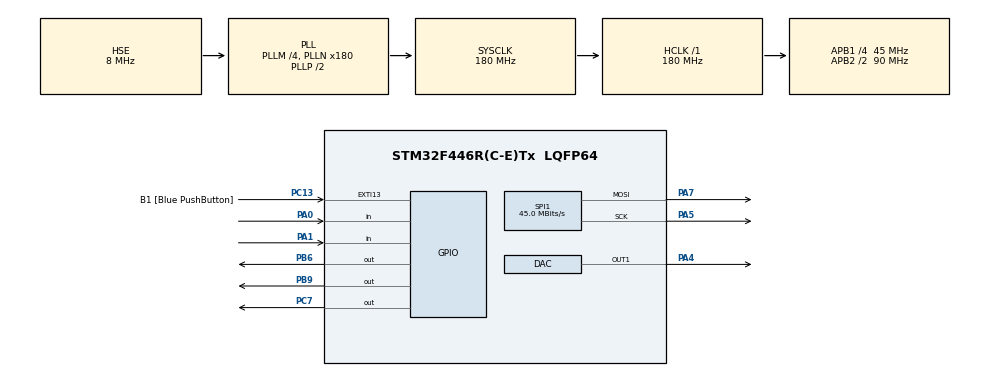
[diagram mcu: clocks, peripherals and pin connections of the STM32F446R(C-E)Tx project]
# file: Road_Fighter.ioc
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DAC.DAC_Trigger=DAC_TRIGGER_T6_TRGO
Dma.DAC1.0.Direction=DMA_MEMORY_TO_PERIPH
Dma.DAC1.0.FIFOMode=DMA_FIFOMODE_DISABLE
Dma.DAC1.0.Instance=DMA1_Stream5
Dma.DAC1.0.MemDataAlignment=DMA_MDATAALIGN_HALFWORD
Dma.DAC1.0.MemInc=DMA_MINC_ENABLE
Dma.DAC1.0.Mode=DMA_CIRCULAR
Dma.DAC1.0.PeriphDataAlignment=DMA_PDATAALIGN_HALFWORD
Dma.DAC1.0.PeriphInc=DMA_PINC_DISABLE
Dma.DAC1.0.Priority=DMA_PRIORITY_LOW
Dma.Request0=DAC1
FREERTOS.HEAP_NUMBER=1
FREERTOS.MEMORY_ALLOCATION=0
FREERTOS.Queues01=gameState,1,uint8_t,NULL,Dynamic,NULL,NULL;track,1,uint8_t,NULL,Dynamic,NULL,NULL;trackISR,1,uint8_t,NULL,Dynamic,NULL,NULL;trackHalfISR,1,uint8_t,NULL,Dynamic,NULL,NULL
FREERTOS.Tasks01=defaultTask,0,128,StartDefaultTask,Default,NULL,Dynamic,NULL,NULL;taskDisplayGame,0,1024,DisplayGame,Default,NULL,Dynamic,NULL,NULL;taskSoundEffect,0,128,SoundEffect,Default,NULL,Dynamic,NULL,NULL;taskUpdateGame,1,128,UpdateGame,Default,NULL,Dynamic,NULL,NULL
FREERTOS.configUSE_PREEMPTION=1
Mcu.Family=STM32F4
Mcu.Name=STM32F446R(C-E)Tx
Mcu.Package=LQFP64
NVIC.DMA1_Stream5_IRQn=true\:5\:0\:false\:false\:true\:true\:false
NVIC.EXTI15_10_IRQn=true\:5\:0\:false\:false\:true\:true\:true
NVIC.PriorityGroup=NVIC_PRIORITYGROUP_4
NVIC.TIM6_DAC_IRQn=true\:5\:0\:false\:false\:true\:true\:true
NVIC.TIM7_IRQn=true\:0\:0\:false\:false\:true\:false\:false
NVIC.TimeBase=TIM7_IRQn
NVIC.TimeBaseIP=TIM7
PA0-WKUP.Signal=GPIO_Input
PA1.Signal=GPIO_Input
PA13.GPIO_Label=TMS
PA13.Mode=Serial_Wire
PA13.Signal=SYS_JTMS-SWDIO
PA14.GPIO_Label=TCK
PA14.Mode=Serial_Wire
PA14.Signal=SYS_JTCK-SWCLK
PA2.GPIO_Label=USART_TX
PA2.Signal=USART2_TX
PA3.GPIO_Label=USART_RX
PA3.Signal=USART2_RX
PA4.Signal=COMP_DAC1_group
PA5.Mode=TX_Only_Simplex_Unidirect_Master
PA5.Signal=SPI1_SCK
PA7.Mode=TX_Only_Simplex_Unidirect_Master
PA7.Signal=SPI1_MOSI
PB3.GPIO_Label=SWO
PB3.Signal=SYS_JTDO-SWO
PB6.GPIO_Speed=GPIO_SPEED_FREQ_VERY_HIGH
PB6.Signal=GPIO_Output
PB9.GPIO_Speed=GPIO_SPEED_FREQ_VERY_HIGH
PB9.Signal=GPIO_Output
PC13.GPIO_Label=B1 [Blue PushButton]
PC13.GPIO_ModeDefaultEXTI=GPIO_MODE_IT_FALLING
PC13.Signal=GPXTI13
PC14-OSC32_IN.Signal=RCC_OSC32_IN
PC15-OSC32_OUT.Signal=RCC_OSC32_OUT
PC7.GPIO_Speed=GPIO_SPEED_FREQ_VERY_HIGH
PC7.Signal=GPIO_Output
PH0-OSC_IN.Mode=HSE-External-Clock-Source
PH0-OSC_IN.Signal=RCC_OSC_IN
PH1-OSC_OUT.Mode=HSE-External-Clock-Source
PH1-OSC_OUT.Signal=RCC_OSC_OUT
ProjectManager.HeapSize=0x200
ProjectManager.StackSize=0x400
ProjectManager.TargetToolchain=SW4STM32
RCC.AHBFreq_Value=180000000
RCC.APB1CLKDivider=RCC_HCLK_DIV4
RCC.APB1Freq_Value=45000000
RCC.APB1TimFreq_Value=90000000
RCC.APB2CLKDivider=RCC_HCLK_DIV2
RCC.APB2Freq_Value=90000000
RCC.APB2TimFreq_Value=180000000
RCC.CortexFreq_Value=180000000
RCC.FLatency-AdvancedSettings=FLASH_LATENCY_5
RCC.HCLKFreq_Value=180000000
RCC.HSE_VALUE=8000000
RCC.HSI_VALUE=16000000
RCC.LSE_VALUE=32768
RCC.PLLM=4
RCC.PLLN=180
RCC.PLLQ=8
RCC.PLLSourceVirtual=RCC_PLLSOURCE_HSE
RCC.SYSCLKFreq_VALUE=180000000
RCC.SYSCLKSource=RCC_SYSCLKSOURCE_PLLCLK
RCC.USBFreq_Value=45000000
RCC.VCOOutputFreq_Value=360000000
SH.COMP_DAC1_group.0=DAC_OUT1,DAC_OUT1
SPI1.CalculateBaudRate=45.0 MBits/s
SPI1.Direction=SPI_DIRECTION_2LINES
SPI1.Mode=SPI_MODE_MASTER
SPI1.VirtualType=VM_MASTER
TIM6.Period=4081
TIM6.Prescaler=0
TIM6.TIM_MasterOutputTrigger=TIM_TRGO_UPDATE
VP_FREERTOS_VS_ENABLE.Mode=Enabled
VP_SYS_VS_tim7.Mode=TIM7
VP_TIM6_VS_ClockSourceINT.Mode=Enable_Timer
board=NUCLEO-F446RE

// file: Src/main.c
/**
  ******************************************************************************
  * File Name          : main.c
  * Description        : Main program body
  ******************************************************************************
  * This notice applies to any and all portions of this file
  * that are not between comment pairs USER CODE BEGIN and
  * USER CODE END. Other portions of this file, whether
  * inserted by the user or by software development tools
  * are owned by their respective copyright owners.
  *
  * Copyright (c) 2017 STMicroelectronics International N.V.
  * All rights reserved.
  *
  * Redistribution and use in source and binary forms, with or without
  * modification, are permitted, provided that the following conditions are met:
  *
  * 1. Redistribution of source code must retain the above copyright notice,
  *    this list of conditions and the following disclaimer.
  * 2. Redistributions in binary form must reproduce the above copyright notice,
  *    this list of conditions and the following disclaimer in the documentation
  *    and/or other materials provided with the distribution.
  * 3. Neither the name of STMicroelectronics nor the names of other
  *    contributors to this software may be used to endorse or promote products
  *    derived from this software without specific written permission.
  * 4. This software, including modifications and/or derivative works of this
  *    software, must execute solely and exclusively on microcontroller or
  *    microprocessor devices manufactured by or for STMicroelectronics.
  * 5. Redistribution and use of this software other than as permitted under
  *    this license is void and will automatically terminate your rights under
  *    this license.
  *
  * THIS SOFTWARE IS PROVIDED BY STMICROELECTRONICS AND CONTRIBUTORS "AS IS"
  * AND ANY EXPRESS, IMPLIED OR STATUTORY WARRANTIES, INCLUDING, BUT NOT
  * LIMITED TO, THE IMPLIED WARRANTIES OF MERCHANTABILITY, FITNESS FOR A
  * PARTICULAR PURPOSE AND NON-INFRINGEMENT OF THIRD PARTY INTELLECTUAL PROPERTY
  * RIGHTS ARE DISCLAIMED TO THE FULLEST EXTENT PERMITTED BY LAW. IN NO EVENT
  * SHALL STMICROELECTRONICS OR CONTRIBUTORS BE LIABLE FOR ANY DIRECT, INDIRECT,
  * INCIDENTAL, SPECIAL, EXEMPLARY, OR CONSEQUENTIAL DAMAGES (INCLUDING, BUT NOT
  * LIMITED TO, PROCUREMENT OF SUBSTITUTE GOODS OR SERVICES; LOSS OF USE, DATA,
  * OR PROFITS; OR BUSINESS INTERRUPTION) HOWEVER CAUSED AND ON ANY THEORY OF
  * LIABILITY, WHETHER IN CONTRACT, STRICT LIABILITY, OR TORT (INCLUDING
  * NEGLIGENCE OR OTHERWISE) ARISING IN ANY WAY OUT OF THE USE OF THIS SOFTWARE,
  * EVEN IF ADVISED OF THE POSSIBILITY OF SUCH DAMAGE.
  *
  ******************************************************************************
  */

#include "main.h"
#include "stm32f4xx_hal.h"
#include "cmsis_os.h"
#include "dac.h"
#include "dma.h"
#include "spi.h"
#include "tim.h"
#include "gpio.h"

/* USER CODE BEGIN PV */
/* Private variables ---------------------------------------------------------*/
#ifdef __GNUC__
#define USED __attribute__((used))
#else
#define USED
#endif

const int USED uxTopUsedPriority = configMAX_PRIORITIES - 1;
/* USER CODE END PV */

void SystemClock_Config(void);
void MX_FREERTOS_Init(void);

/* USER CODE BEGIN PFP */
/* Private function prototypes -----------------------------------------------*/

/* USER CODE END PFP */

int main(void)
{

  /* MCU Configuration----------------------------------------------------------*/

  /* Reset of all peripherals, Initializes the Flash interface and the Systick. */
  HAL_Init();

  /* Configure the system clock */
  SystemClock_Config();

  /* Initialize all configured peripherals */
  MX_GPIO_Init();
  MX_DMA_Init();
  MX_SPI1_Init();
  MX_DAC_Init();
  MX_TIM6_Init();

  /* Call init function for freertos objects (in freertos.c) */
  MX_FREERTOS_Init();

  /* Start scheduler */
  osKernelStart();

  /* We should never get here as control is now taken by the scheduler */

  /* Infinite loop */
  while (1)
  {

  }

}

/** System Clock Configuration
*/
void SystemClock_Config(void)
{

  RCC_OscInitTypeDef RCC_OscInitStruct;
  RCC_ClkInitTypeDef RCC_ClkInitStruct;

    /**Configure the main internal regulator output voltage
    */
  __HAL_RCC_PWR_CLK_ENABLE();

  __HAL_PWR_VOLTAGESCALING_CONFIG(PWR_REGULATOR_VOLTAGE_SCALE1);

    /**Initializes the CPU, AHB and APB busses clocks
    */
  RCC_OscInitStruct.OscillatorType = RCC_OSCILLATORTYPE_HSE;
  RCC_OscInitStruct.HSEState = RCC_HSE_BYPASS;
  RCC_OscInitStruct.PLL.PLLState = RCC_PLL_ON;
  RCC_OscInitStruct.PLL.PLLSource = RCC_PLLSOURCE_HSE;
  RCC_OscInitStruct.PLL.PLLM = 4;
  RCC_OscInitStruct.PLL.PLLN = 180;
  RCC_OscInitStruct.PLL.PLLP = RCC_PLLP_DIV2;
  RCC_OscInitStruct.PLL.PLLQ = 8;
  RCC_OscInitStruct.PLL.PLLR = 2;
  if (HAL_RCC_OscConfig(&RCC_OscInitStruct) != HAL_OK)
  {
    _Error_Handler(__FILE__, __LINE__);
  }

    /**Activate the Over-Drive mode
    */
  if (HAL_PWREx_EnableOverDrive() != HAL_OK)
  {
    _Error_Handler(__FILE__, __LINE__);
  }

    /**Initializes the CPU, AHB and APB busses clocks
    */
  RCC_ClkInitStruct.ClockType = RCC_CLOCKTYPE_HCLK|RCC_CLOCKTYPE_SYSCLK
                              |RCC_CLOCKTYPE_PCLK1|RCC_CLOCKTYPE_PCLK2;
  RCC_ClkInitStruct.SYSCLKSource = RCC_SYSCLKSOURCE_PLLCLK;
  RCC_ClkInitStruct.AHBCLKDivider = RCC_SYSCLK_DIV1;
  RCC_ClkInitStruct.APB1CLKDivider = RCC_HCLK_DIV4;
  RCC_ClkInitStruct.APB2CLKDivider = RCC_HCLK_DIV2;

  if (HAL_RCC_ClockConfig(&RCC_ClkInitStruct, FLASH_LATENCY_5) != HAL_OK)
  {
    _Error_Handler(__FILE__, __LINE__);
  }

    /**Configure the Systick interrupt time
    */
  HAL_SYSTICK_Config(HAL_RCC_GetHCLKFreq()/1000);

    /**Configure the Systick
    */
  HAL_SYSTICK_CLKSourceConfig(SYSTICK_CLKSOURCE_HCLK);

  /* SysTick_IRQn interrupt configuration */
  HAL_NVIC_SetPriority(SysTick_IRQn, 15, 0);
}

void HAL_TIM_PeriodElapsedCallback(TIM_HandleTypeDef *htim)
{
  if (htim->Instance == TIM7) {
    HAL_IncTick();
  }
}

void _Error_Handler(char * file, int line)
{
  while(1)
  {
  }
}

/************************ (C) COPYRIGHT STMicroelectronics *****END OF FILE****/

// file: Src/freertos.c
/**
  ******************************************************************************
  * File Name          : freertos.c
  * Description        : Code for freertos applications
  ******************************************************************************
  * This notice applies to any and all portions of this file
  * that are not between comment pairs USER CODE BEGIN and
  * USER CODE END. Other portions of this file, whether
  * inserted by the user or by software development tools
  * are owned by their respective copyright owners.
  *
  * Copyright (c) 2017 STMicroelectronics International N.V.
  * All rights reserved.
  *
  * Redistribution and use in source and binary forms, with or without
  * modification, are permitted, provided that the following conditions are met:
  *
  * 1. Redistribution of source code must retain the above copyright notice,
  *    this list of conditions and the following disclaimer.
  * 2. Redistributions in binary form must reproduce the above copyright notice,
  *    this list of conditions and the following disclaimer in the documentation
  *    and/or other materials provided with the distribution.
  * 3. Neither the name of STMicroelectronics nor the names of other
  *    contributors to this software may be used to endorse or promote products
  *    derived from this software without specific written permission.
  * 4. This software, including modifications and/or derivative works of this
  *    software, must execute solely and exclusively on microcontroller or
  *    microprocessor devices manufactured by or for STMicroelectronics.
  * 5. Redistribution and use of this software other than as permitted under
  *    this license is void and will automatically terminate your rights under
  *    this license.
  *
  * THIS SOFTWARE IS PROVIDED BY STMICROELECTRONICS AND CONTRIBUTORS "AS IS"
  * AND ANY EXPRESS, IMPLIED OR STATUTORY WARRANTIES, INCLUDING, BUT NOT
  * LIMITED TO, THE IMPLIED WARRANTIES OF MERCHANTABILITY, FITNESS FOR A
  * PARTICULAR PURPOSE AND NON-INFRINGEMENT OF THIRD PARTY INTELLECTUAL PROPERTY
  * RIGHTS ARE DISCLAIMED TO THE FULLEST EXTENT PERMITTED BY LAW. IN NO EVENT
  * SHALL STMICROELECTRONICS OR CONTRIBUTORS BE LIABLE FOR ANY DIRECT, INDIRECT,
  * INCIDENTAL, SPECIAL, EXEMPLARY, OR CONSEQUENTIAL DAMAGES (INCLUDING, BUT NOT
  * LIMITED TO, PROCUREMENT OF SUBSTITUTE GOODS OR SERVICES; LOSS OF USE, DATA,
  * OR PROFITS; OR BUSINESS INTERRUPTION) HOWEVER CAUSED AND ON ANY THEORY OF
  * LIABILITY, WHETHER IN CONTRACT, STRICT LIABILITY, OR TORT (INCLUDING
  * NEGLIGENCE OR OTHERWISE) ARISING IN ANY WAY OUT OF THE USE OF THIS SOFTWARE,
  * EVEN IF ADVISED OF THE POSSIBILITY OF SUCH DAMAGE.
  *
  ******************************************************************************
  */

#include "FreeRTOS.h"
#include "task.h"
#include "cmsis_os.h"

/* USER CODE BEGIN Includes */
#include "st7735.h"
#include "game.h"
#include "dac.h"
#include "tim.h"
#include "sound.h"
/* USER CODE END Includes */

osThreadId defaultTaskHandle;
osThreadId taskDisplayGameHandle;
osThreadId taskSoundEffectHandle;
osThreadId taskUpdateGameHandle;
osMessageQId gameStateHandle;
osMessageQId trackHandle;
osMessageQId trackISRHandle;
osMessageQId trackHalfISRHandle;

void StartDefaultTask(void const * argument);
void DisplayGame(void const * argument);
void SoundEffect(void const * argument);
void UpdateGame(void const * argument);

void MX_FREERTOS_Init(void); /* (MISRA C 2004 rule 8.1) */

/* Hook prototypes */

/* Init FreeRTOS */

void MX_FREERTOS_Init(void) {
  /* USER CODE BEGIN Init */
	ST7735_Init();
	ST7735_AddrSet(0,0,159,127);
	ST7735_Clear(0x0000);
	ST7735_Orientation(scr_180);
  /* USER CODE END Init */

  /* Create the thread(s) */
  /* definition and creation of defaultTask */
  osThreadDef(defaultTask, StartDefaultTask, osPriorityNormal, 0, 128);
  defaultTaskHandle = osThreadCreate(osThread(defaultTask), NULL);

  /* definition and creation of taskDisplayGame */
  osThreadDef(taskDisplayGame, DisplayGame, osPriorityNormal, 0, 1024);
  taskDisplayGameHandle = osThreadCreate(osThread(taskDisplayGame), NULL);

  /* definition and creation of taskSoundEffect */
  osThreadDef(taskSoundEffect, SoundEffect, osPriorityNormal, 0, 128);
  taskSoundEffectHandle = osThreadCreate(osThread(taskSoundEffect), NULL);

  /* definition and creation of taskUpdateGame */
  osThreadDef(taskUpdateGame, UpdateGame, osPriorityAboveNormal, 0, 128);
  taskUpdateGameHandle = osThreadCreate(osThread(taskUpdateGame), NULL);

  /* Create the queue(s) */
  /* definition and creation of gameState */
  osMessageQDef(gameState, 1, uint8_t);
  gameStateHandle = osMessageCreate(osMessageQ(gameState), NULL);

  /* definition and creation of track */
  osMessageQDef(track, 1, uint8_t);
  trackHandle = osMessageCreate(osMessageQ(track), NULL);

  /* definition and creation of trackISR */
  osMessageQDef(trackISR, 1, uint8_t);
  trackISRHandle = osMessageCreate(osMessageQ(trackISR), NULL);

  /* definition and creation of trackHalfISR */
  osMessageQDef(trackHalfISR, 1, uint8_t);
  trackHalfISRHandle = osMessageCreate(osMessageQ(trackHalfISR), NULL);

}

/* StartDefaultTask function */
void StartDefaultTask(void const * argument)
{

  for(;;)
  {
    osDelay(1);
  }
}

/* DisplayGame function */
void DisplayGame(void const * argument)
{
  /* USER CODE BEGIN DisplayGame */
	init_player();
	init_enemy();

	GameState game_state = Main_Menu;
	osEvent event;
  /* Infinite loop */
  for(;;)
  {
	event = osMessageGet(gameStateHandle, 0);
	if(event.status == osEventMessage) game_state = event.value.v;
	switch(game_state){
	case Main_Menu:
		main_menu();
		break;
	case Starting:
		render_starting();
		osSignalWait(0x0001, osWaitForever);
		game_state = Running;
		osMessagePut(trackHandle, Engine, 0);
		break;
	case Running:
		render_player();
		render_enemy();
		render_road();
		render_score();
		check_if_over();
		break;
	case Game_Over:
		game_over();
		break;
	default:
		break;
	}
    osDelay(1);
  }
  /* USER CODE END DisplayGame */
}

/* SoundEffect function */
void SoundEffect(void const * argument)
{
  /* USER CODE BEGIN SoundEffect */
	HAL_TIM_Base_Start(&htim6);

	osEvent event;
  /* Infinite loop */
  for(;;)
  {
	  event = osMessageGet(trackHandle, osWaitForever);
	  if(event.status == osEventMessage){
		  switch(event.value.v){
		  case Explosion:
			  HAL_DAC_Stop_DMA(&hdac, DAC_CHANNEL_1);
			  HAL_DAC_Start_DMA(&hdac, DAC_CHANNEL_1, (uint32_t*)explosion_PCM, explosion_Len, DAC_ALIGN_12B_L);
			  osMessagePut(trackHalfISRHandle, Explosion_started, 0);
			  break;
		  case Engine:
			  HAL_DAC_Stop_DMA(&hdac, DAC_CHANNEL_1);
			  HAL_DAC_Start_DMA(&hdac, DAC_CHANNEL_1, (uint32_t*)engine_PCM, engine_Len, DAC_ALIGN_12B_L);
			  break;
		  case Start:
			  HAL_DAC_Start_DMA(&hdac, DAC_CHANNEL_1, (uint32_t*)start_PCM, start_Len, DAC_ALIGN_12B_L);
			  osMessagePut(trackISRHandle, Start, 0);
			  break;
		  default:
			  HAL_DAC_Stop_DMA(&hdac, DAC_CHANNEL_1);
			  break;
		  }
	  }
	  osDelay(1);
  }
  /* USER CODE END SoundEffect */
}

/* UpdateGame function */
void UpdateGame(void const * argument)
{
  /* USER CODE BEGIN UpdateGame */
  /* Infinite loop */
  for(;;)
  {
	  osDelay(40);
	  update_player(0);
	  if(HAL_GPIO_ReadPin(GPIOA, GPIO_PIN_0) == GPIO_PIN_SET) {
		  update_player(VELOCITY);
	  }
	  if(HAL_GPIO_ReadPin(GPIOA, GPIO_PIN_1) == GPIO_PIN_SET) {
		  update_player(-VELOCITY);
	  }

	  update_game();
  }
  /* USER CODE END UpdateGame */
}

/* USER CODE BEGIN Application */
void HAL_DAC_ConvHalfCpltCallbackCh1(DAC_HandleTypeDef* hdac) {
	osEvent event = osMessageGet(trackHalfISRHandle, 0);
	if(event.status == osEventMessage) {
		switch(event.value.v){
		case Explosion_started:
			HAL_DAC_Stop_DMA(hdac, DAC_CHANNEL_1);
			break;
		default:
			break;
		}
	}
}

void HAL_DAC_ConvCpltCallbackCh1(DAC_HandleTypeDef* hdac) {
	osEvent event = osMessageGet(trackISRHandle, 0);
	if(event.status == osEventMessage) {
		switch(event.value.v){
		case Start:
			HAL_DAC_Stop_DMA(hdac, DAC_CHANNEL_1);
			osSignalSet(taskDisplayGameHandle, 0x0001);
			break;
		default:
			break;
		}
	}
}
/* USER CODE END Application */

/************************ (C) COPYRIGHT STMicroelectronics *****END OF FILE****/
